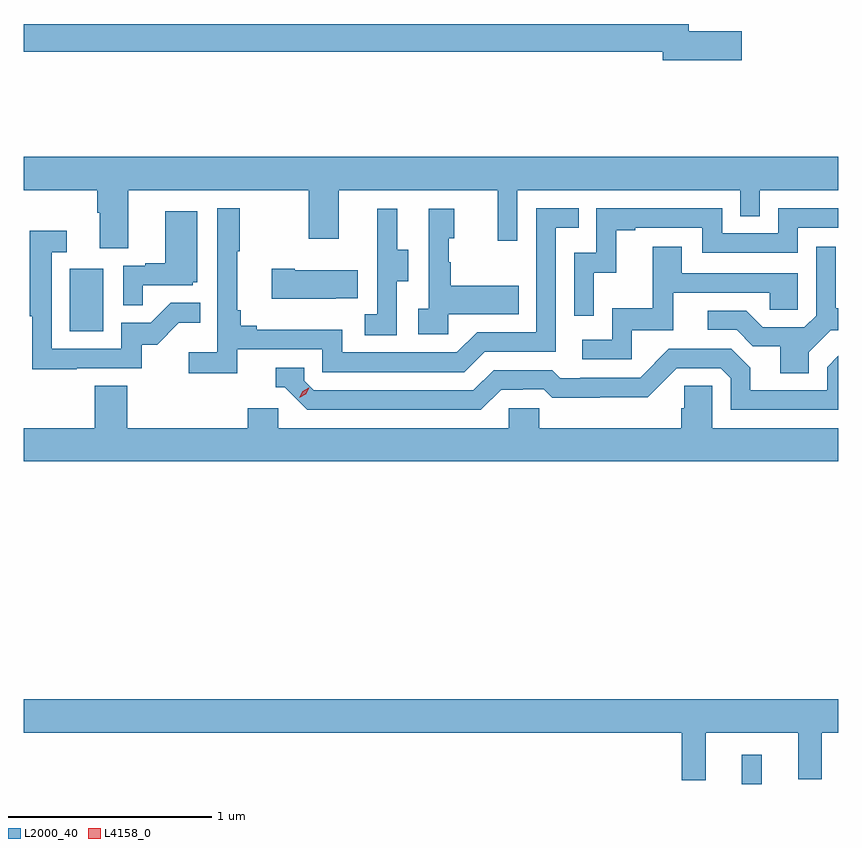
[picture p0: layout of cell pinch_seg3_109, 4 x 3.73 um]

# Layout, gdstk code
import gdstk
lib = gdstk.Library(unit=1e-6, precision=1e-09)
def R(c, l, rs):  # rectangles x0, y0, x1, y1
    for r in rs: c.add(gdstk.rectangle(r[:2], r[2:], *l))
def P(c, l, *ps):  # polygons
    for p in ps: c.add(gdstk.Polygon(p, *l))
L2000_40 = (2000, 40)
L4158_0 = (4158, 0)

pinch_seg3_109 = lib.new_cell('pinch_seg3_109')
R(pinch_seg3_109, L2000_40, [(1032.866,715.316,1032.963,715.459), (1029.566,717.54,1029.73,717.847)])
P(pinch_seg3_109, L2000_40, [(1032.865,719.012),(1032.604,719.012),(1032.604,719.048),(1029.339,719.048),(1029.339,718.912),(1032.476,718.912),(1032.476,718.87),(1032.865,718.87)],
  [(1029.853,718.232),(1030.738,718.232),(1030.738,717.993),(1030.885,717.993),(1030.885,718.232),(1031.666,718.232),(1031.666,717.984),(1031.763,717.984),(1031.763,718.232),(1032.858,718.232),(1032.858,718.105),(1032.954,718.105),(1032.954,718.232),(1033.339,718.232),(1033.339,718.396),(1029.339,718.396),(1029.339,718.232),(1029.701,718.232),(1029.701,718.12),(1029.713,718.12),(1029.713,717.946),(1029.853,717.946)],
  [(1030.388,717.45),(1030.806,717.45),(1030.806,717.339),(1031.503,717.339),(1031.602,717.438),(1031.952,717.438),(1031.952,718.047),(1032.065,718.047),(1032.065,718.143),(1031.856,718.143),(1031.856,717.534),(1031.565,717.534),(1031.466,717.435),(1030.902,717.435),(1030.902,717.547),(1030.483,717.547),(1030.483,717.566),(1030.406,717.566),(1030.406,717.643),(1030.387,717.643),(1030.387,717.931),(1030.399,717.931),(1030.399,718.144),(1030.29,718.144),(1030.29,717.436),(1030.149,717.436),(1030.149,717.334),(1030.388,717.334)],
  [(1032.138,717.827),(1032.248,717.827),(1032.248,718.035),(1032.343,718.035),(1032.343,718.047),(1032.672,718.047),(1032.672,717.924),(1033.14,717.924),(1033.14,718.047),(1033.339,718.047),(1033.339,718.143),(1033.044,718.143),(1033.044,718.02),(1032.768,718.02),(1032.768,718.143),(1032.15,718.143),(1032.15,717.924),(1032.042,717.924),(1032.042,717.615),(1032.138,717.615)],
  [(1031.172,717.784),(1031.227,717.784),(1031.227,717.939),(1031.173,717.939),(1031.173,718.141),(1031.075,718.141),(1031.075,717.927),(1031.076,717.927),(1031.076,717.623),(1031.013,717.623),(1031.013,717.52),(1031.172,717.52)],
  [(1031.424,717.623),(1031.771,717.623),(1031.771,717.763),(1031.437,717.763),(1031.437,717.878),(1031.427,717.878),(1031.427,717.996),(1031.452,717.996),(1031.452,718.141),(1031.328,718.141),(1031.328,717.65),(1031.277,717.65),(1031.277,717.525),(1031.424,717.525)],
  [(1029.923,717.765),(1030.17,717.765),(1030.17,717.78),(1030.192,717.78),(1030.192,718.129),(1030.034,718.129),(1030.034,717.874),(1029.935,717.874),(1029.935,717.861),(1029.828,717.861),(1029.828,717.667),(1029.923,717.667)],
  [(1029.599,717.357),(1029.918,717.357),(1029.918,717.474),(1029.994,717.474),(1030.101,717.581),(1030.205,717.581),(1030.205,717.68),(1030.061,717.68),(1029.963,717.582),(1029.819,717.582),(1029.819,717.453),(1029.477,717.453),(1029.477,717.927),(1029.55,717.927),(1029.55,718.033),(1029.369,718.033),(1029.369,717.613),(1029.381,717.613),(1029.381,717.352),(1029.599,717.352)],
  [(1033.195,717.436),(1033.302,717.543),(1033.339,717.543),(1033.339,717.652),(1033.327,717.652),(1033.327,717.955),(1033.23,717.955),(1033.23,717.615),(1033.173,717.558),(1032.967,717.558),(1032.886,717.639),(1032.699,717.639),(1032.699,717.546),(1032.84,717.546),(1032.92,717.466),(1033.055,717.466),(1033.055,717.334),(1033.195,717.334)],
  [(1032.324,717.543),(1032.529,717.543),(1032.529,717.729),(1033.003,717.729),(1033.003,717.645),(1033.14,717.645),(1033.14,717.825),(1032.571,717.825),(1032.571,717.955),(1032.427,717.955),(1032.427,717.652),(1032.228,717.652),(1032.228,717.498),(1032.081,717.498),(1032.081,717.402),(1032.324,717.402)],
  [(1030.871,717.701),(1030.979,717.701),(1030.979,717.838),(1030.669,717.838),(1030.669,717.846),(1030.557,717.846),(1030.557,717.698),(1030.871,717.698)],
  [(1031.683,717.252),(1031.79,717.252),(1031.79,717.255),(1031.893,717.255),(1031.935,717.213),(1032.168,717.213),(1032.168,717.215),(1032.404,717.215),(1032.546,717.357),(1032.762,717.357),(1032.81,717.309),(1032.81,717.153),(1033.339,717.153),(1033.339,717.418),(1033.284,717.363),(1033.284,717.249),(1032.907,717.249),(1032.907,717.359),(1032.813,717.453),(1032.507,717.453),(1032.366,717.312),(1032.073,717.312),(1032.073,717.309),(1031.974,717.309),(1031.935,717.348),(1031.646,717.348),(1031.547,717.249),(1030.764,717.249),(1030.716,717.297),(1030.716,717.36),(1030.577,717.36),(1030.577,717.264),(1030.62,717.264),(1030.731,717.153),(1031.584,717.153)],
  [(1030.439,717.162),(1030.439,717.064),(1029.848,717.064),(1029.848,717.272),(1029.688,717.272),(1029.688,717.064),(1029.339,717.064),(1029.339,716.9),(1033.339,716.9),(1033.339,717.064),(1032.72,717.064),(1032.72,717.272),(1032.583,717.272),(1032.583,717.162),(1032.569,717.162),(1032.569,717.064),(1031.871,717.064),(1031.871,717.162),(1031.721,717.162),(1031.721,717.064),(1030.59,717.064),(1030.59,717.162)],
  [(1032.689,715.568),(1033.142,715.568),(1033.142,715.34),(1033.259,715.34),(1033.259,715.568),(1033.339,715.568),(1033.339,715.732),(1029.339,715.732),(1029.339,715.568),(1032.571,715.568),(1032.571,715.335),(1032.689,715.335)])
P(pinch_seg3_109, L4158_0, [(1030.692,717.212),(1030.692,717.212),(1030.708,717.244),(1030.739,717.263),(1030.74,717.263),(1030.74,717.263),(1030.723,717.231),(1030.692,717.212)])

lib.write_gds('pinch_seg3_109.gds')
